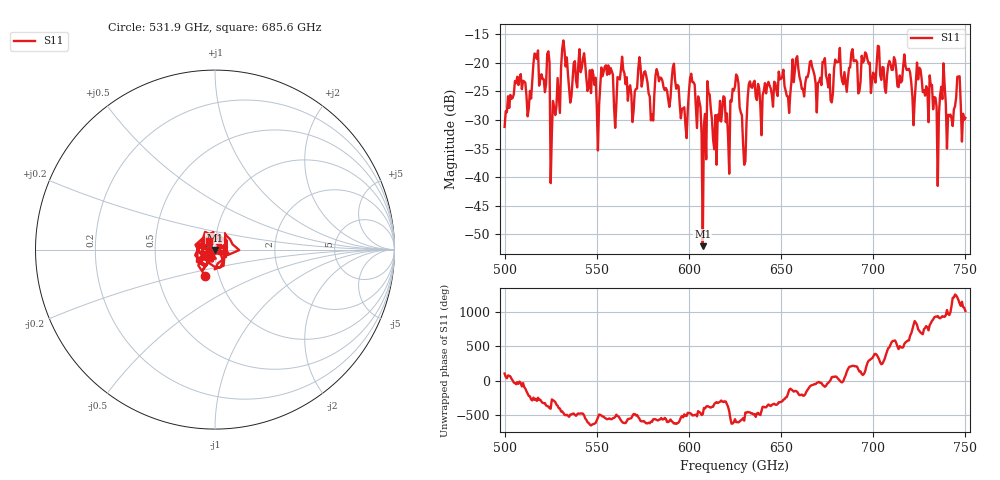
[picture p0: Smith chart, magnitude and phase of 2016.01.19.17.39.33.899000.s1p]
!Created with skrf (http://scikit-rf.org).
# GHz S RI R 50.0
!freq ReS11 ImS11
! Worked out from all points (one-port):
!   401 points, 500 GHz to 750 GHz, reference 50 ohm
!   lowest |S11| = -52.1 dB at 607.5 GHz (marker M1), VSWR 1.00, Z = 49.8 - j0.186 ohm
!   |S11| at or under -10 dB: start of sweep to end of sweep
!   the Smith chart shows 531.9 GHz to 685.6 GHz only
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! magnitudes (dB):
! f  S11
! 500 GHz  -31.2
! 507.5 GHz  -23.9
! 513.1 GHz  -27.9
! 516.9 GHz  -18.5
! 523.1 GHz  -18.4
! 526.2 GHz  -26.7
! 531.2 GHz  -17.5
! 550.6 GHz  -35.3
! 562.5 GHz  -22.9
! 579.4 GHz  -30.1
! 583.1 GHz  -21.8
! 593.8 GHz  -23.9
! 598.1 GHz  -31.0
! 601.9 GHz  -23.4
! 607.5 GHz  -52.1
! 611.2 GHz  -25.5
! 613.8 GHz  -35.1
! 618.1 GHz  -28.0
! 621.2 GHz  -33.0
! 625 GHz  -24.1
! 630 GHz  -37.8
! 633.8 GHz  -24.2
! 656.2 GHz  -19.4
! 687.5 GHz  -20.8
! 718.8 GHz  -21.2
! 734.4 GHz  -27.7
! 737.5 GHz  -26.3
! 750 GHz  -29.6
